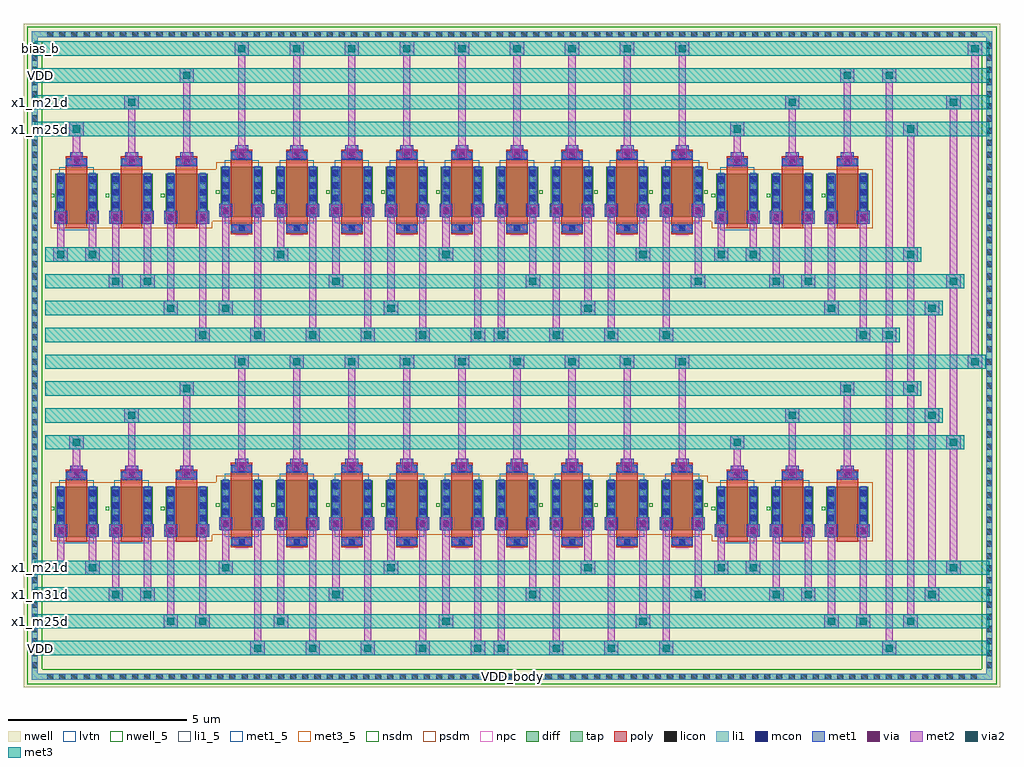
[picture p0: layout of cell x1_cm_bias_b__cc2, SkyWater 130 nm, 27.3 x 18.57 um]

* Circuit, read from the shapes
.subckt x1_cm_bias_b__cc2 VDD VDD_body bias_b x1_m21d x1_m25d x1_m31d
XM1 x1_m21d x1_m21d x1_m21d VDD_body sky130_fd_pr__pfet_01v8_lvt w=1.4 l=0.6 m=2
XM2 x1_m25d x1_m25d x1_m25d VDD_body sky130_fd_pr__pfet_01v8_lvt w=1.4 l=0.6 m=2
XM3 x1_m31d x1_m31d x1_m31d VDD_body sky130_fd_pr__pfet_01v8_lvt w=1.4 l=0.6 m=2
XM4 x1_m21d x1_m21d x1_m21d VDD_body sky130_fd_pr__pfet_01v8 w=1.4 l=0.6 m=2
XM5 x1_m25d x1_m25d x1_m25d VDD_body sky130_fd_pr__pfet_01v8 w=1.4 l=0.6 m=2
XM6 VDD VDD x1_m31d VDD_body sky130_fd_pr__pfet_01v8 w=1.4 l=0.6 m=2
XM7 VDD bias_b x1_m21d VDD_body sky130_fd_pr__pfet_01v8_lvt w=1.4 l=0.6 m=6
XM8 VDD bias_b x1_m31d VDD_body sky130_fd_pr__pfet_01v8_lvt w=1.4 l=0.6 m=6
XM9 VDD bias_b x1_m25d VDD_body sky130_fd_pr__pfet_01v8_lvt w=1.4 l=0.6 m=6
.ends

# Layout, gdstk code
from math import pi, radians
import gdstk
lib = gdstk.Library(unit=1e-6, precision=1e-09)
def R(c, l, rs):  # rectangles x0, y0, x1, y1
    for r in rs: c.add(gdstk.rectangle(r[:2], r[2:], *l))
def A(c, l, x, y, w, h, nx, ny, dx, dy):  # array of equal rectangles
    R(c, l, [(x+i*dx, y+j*dy, x+i*dx+w, y+j*dy+h) for i in range(nx) for j in range(ny)])
nwell_5 = (64, 5)
nwell = (64, 20)
diff = (65, 20)
tap = (65, 44)
poly = (66, 20)
licon = (66, 44)
li1_5 = (67, 5)
li1 = (67, 20)
mcon = (67, 44)
met1_5 = (68, 5)
met1 = (68, 20)
via = (68, 44)
met2 = (69, 20)
via2 = (69, 44)
met3_5 = (70, 5)
met3 = (70, 20)
nsdm = (93, 44)
psdm = (94, 20)
npc = (95, 20)
lvtn = (125, 44)

sky130_fd_pr__pfet_01v8_ = lib.new_cell('sky130_fd_pr__pfet_01v8_7A4LUF')
R(sky130_fd_pr__pfet_01v8_, nwell, [(-0.77,-1.19,0.77,1.02)])
R(sky130_fd_pr__pfet_01v8_, diff, [(-0.59,-0.88,0.59,0.52)])
R(sky130_fd_pr__pfet_01v8_, poly, [(-0.3,-1.01,0.3,1.005)])
A(sky130_fd_pr__pfet_01v8_, licon, -0.53, -0.775, 0.17, 0.17, 1, 4, 0, 0.34)
A(sky130_fd_pr__pfet_01v8_, licon, 0.36, -0.775, 0.17, 0.17, 1, 4, 0, 0.34)
R(sky130_fd_pr__pfet_01v8_, licon, [(-0.085,0.755,0.085,0.925)])
R(sky130_fd_pr__pfet_01v8_, li1, [(-0.53,-0.9,-0.36,0.54), (0.36,-0.9,0.53,0.54), (-0.3,0.755,0.3,0.925)])
A(sky130_fd_pr__pfet_01v8_, mcon, -0.53, -0.805, 0.17, 0.17, 1, 4, 0, 0.36)
A(sky130_fd_pr__pfet_01v8_, mcon, 0.36, -0.805, 0.17, 0.17, 1, 4, 0, 0.36)
R(sky130_fd_pr__pfet_01v8_, mcon, [(-0.085,0.755,0.085,0.925)])
R(sky130_fd_pr__pfet_01v8_, met1, [(-0.56,-0.88,-0.33,0.52), (0.33,-0.88,0.56,0.52), (-0.28,0.725,0.28,0.955)])
R(sky130_fd_pr__pfet_01v8_, psdm, [(-0.715,-1.005,0.715,0.645)])
R(sky130_fd_pr__pfet_01v8_, npc, [(-0.185,0.655,0.185,1.025)])
sky130_fd_pr__pfet_01v8_.add(gdstk.Label('D', (-0.445,-0.18), layer=67, texttype=5))
sky130_fd_pr__pfet_01v8_.add(gdstk.Label('S', (0.445,-0.18), layer=67, texttype=5))
sky130_fd_pr__pfet_01v8_.add(gdstk.Label('G', (0,0.84), layer=67, texttype=5))

pfet_01v8_w1p4_l0p6_m2__ = lib.new_cell('pfet_01v8_W1p4_L0p6_m2__nf1_gtop_sdfull_ng')
R(pfet_01v8_w1p4_l0p6_m2__, nwell_5, [(0.05,1.055,0.15,1.155)])
R(pfet_01v8_w1p4_l0p6_m2__, nwell, [(0.05,1.055,0.15,1.155)])
R(pfet_01v8_w1p4_l0p6_m2__, met1_5, [(0.21,1.01,0.44,1.21), (1.1,1.01,1.33,1.21), (0.49,1.915,1.05,2.145)])
R(pfet_01v8_w1p4_l0p6_m2__, met1, [(0.21,1.01,0.44,1.21), (1.1,1.01,1.33,1.21), (0.49,1.915,1.05,2.145)])
pfet_01v8_w1p4_l0p6_m2__.add(gdstk.Reference(sky130_fd_pr__pfet_01v8_, (0.77,1.19)))
pfet_01v8_w1p4_l0p6_m2__.add(gdstk.Label('D', (0.325,1.11), layer=68, texttype=5))
pfet_01v8_w1p4_l0p6_m2__.add(gdstk.Label('S', (1.215,1.11), layer=68, texttype=5))
pfet_01v8_w1p4_l0p6_m2__.add(gdstk.Label('G', (0.77,2.03), layer=68, texttype=5))
pfet_01v8_w1p4_l0p6_m2__.add(gdstk.Label('B', (0.1,1.105), layer=64, texttype=5))

c_sky130_fd_pr__pfet_01v8_ = lib.new_cell('sky130_fd_pr__pfet_01v8_lvt_L7GY3J')
R(c_sky130_fd_pr__pfet_01v8_, nwell, [(-0.77,-1.19,0.77,1.02)])
R(c_sky130_fd_pr__pfet_01v8_, diff, [(-0.59,-0.88,0.59,0.52)])
R(c_sky130_fd_pr__pfet_01v8_, poly, [(-0.3,-1.01,0.3,1.005)])
A(c_sky130_fd_pr__pfet_01v8_, licon, -0.53, -0.775, 0.17, 0.17, 1, 4, 0, 0.34)
A(c_sky130_fd_pr__pfet_01v8_, licon, 0.36, -0.775, 0.17, 0.17, 1, 4, 0, 0.34)
R(c_sky130_fd_pr__pfet_01v8_, licon, [(-0.085,0.755,0.085,0.925)])
R(c_sky130_fd_pr__pfet_01v8_, li1, [(-0.53,-0.9,-0.36,0.54), (0.36,-0.9,0.53,0.54), (-0.3,0.755,0.3,0.925)])
A(c_sky130_fd_pr__pfet_01v8_, mcon, -0.53, -0.805, 0.17, 0.17, 1, 4, 0, 0.36)
A(c_sky130_fd_pr__pfet_01v8_, mcon, 0.36, -0.805, 0.17, 0.17, 1, 4, 0, 0.36)
R(c_sky130_fd_pr__pfet_01v8_, mcon, [(-0.085,0.755,0.085,0.925)])
R(c_sky130_fd_pr__pfet_01v8_, met1, [(-0.56,-0.88,-0.33,0.52), (0.33,-0.88,0.56,0.52), (-0.28,0.725,0.28,0.955)])
R(c_sky130_fd_pr__pfet_01v8_, psdm, [(-0.715,-1.005,0.715,0.645)])
R(c_sky130_fd_pr__pfet_01v8_, npc, [(-0.185,0.655,0.185,1.025)])
R(c_sky130_fd_pr__pfet_01v8_, lvtn, [(-0.48,-1.06,0.48,0.7)])
c_sky130_fd_pr__pfet_01v8_.add(gdstk.Label('D', (-0.445,-0.18), layer=67, texttype=5))
c_sky130_fd_pr__pfet_01v8_.add(gdstk.Label('S', (0.445,-0.18), layer=67, texttype=5))
c_sky130_fd_pr__pfet_01v8_.add(gdstk.Label('G', (0,0.84), layer=67, texttype=5))

pfet_01v8_lvt_w1p4_l0p6_ = lib.new_cell('pfet_01v8_lvt_W1p4_L0p6_m2__nf1_gtop_sdfull_ng')
R(pfet_01v8_lvt_w1p4_l0p6_, nwell_5, [(0.05,1.055,0.15,1.155)])
R(pfet_01v8_lvt_w1p4_l0p6_, nwell, [(0.05,1.055,0.15,1.155)])
R(pfet_01v8_lvt_w1p4_l0p6_, met1_5, [(0.21,1.01,0.44,1.21), (1.1,1.01,1.33,1.21), (0.49,1.915,1.05,2.145)])
R(pfet_01v8_lvt_w1p4_l0p6_, met1, [(0.21,1.01,0.44,1.21), (1.1,1.01,1.33,1.21), (0.49,1.915,1.05,2.145)])
pfet_01v8_lvt_w1p4_l0p6_.add(gdstk.Reference(c_sky130_fd_pr__pfet_01v8_, (0.77,1.19)))
pfet_01v8_lvt_w1p4_l0p6_.add(gdstk.Label('D', (0.325,1.11), layer=68, texttype=5))
pfet_01v8_lvt_w1p4_l0p6_.add(gdstk.Label('S', (1.215,1.11), layer=68, texttype=5))
pfet_01v8_lvt_w1p4_l0p6_.add(gdstk.Label('G', (0.77,2.03), layer=68, texttype=5))
pfet_01v8_lvt_w1p4_l0p6_.add(gdstk.Label('B', (0.1,1.105), layer=64, texttype=5))

c_sky130_fd_pr__pfet_01v8__ = lib.new_cell('sky130_fd_pr__pfet_01v8_lvt_PJ46JE')
R(c_sky130_fd_pr__pfet_01v8__, nwell, [(-0.77,-1.2,0.77,1.2)])
R(c_sky130_fd_pr__pfet_01v8__, diff, [(-0.59,-0.7,0.59,0.7)])
R(c_sky130_fd_pr__pfet_01v8__, poly, [(-0.3,-1.185,0.3,1.185)])
A(c_sky130_fd_pr__pfet_01v8__, licon, -0.53, -0.595, 0.17, 0.17, 1, 4, 0, 0.34)
A(c_sky130_fd_pr__pfet_01v8__, licon, 0.36, -0.595, 0.17, 0.17, 1, 4, 0, 0.34)
R(c_sky130_fd_pr__pfet_01v8__, licon, [(-0.085,-1.105,0.085,-0.935), (-0.085,0.935,0.085,1.105)])
R(c_sky130_fd_pr__pfet_01v8__, li1, [(-0.3,-1.105,0.3,-0.935), (-0.53,-0.72,-0.36,0.72), (0.36,-0.72,0.53,0.72), (-0.3,0.935,0.3,1.105)])
A(c_sky130_fd_pr__pfet_01v8__, mcon, -0.53, -0.625, 0.17, 0.17, 1, 4, 0, 0.36)
A(c_sky130_fd_pr__pfet_01v8__, mcon, 0.36, -0.625, 0.17, 0.17, 1, 4, 0, 0.36)
R(c_sky130_fd_pr__pfet_01v8__, mcon, [(-0.085,-1.105,0.085,-0.935), (-0.085,0.935,0.085,1.105)])
R(c_sky130_fd_pr__pfet_01v8__, met1, [(-0.28,-1.135,0.28,-0.905), (-0.56,-0.7,-0.33,0.7), (0.33,-0.7,0.56,0.7), (-0.28,0.905,0.28,1.135)])
R(c_sky130_fd_pr__pfet_01v8__, psdm, [(-0.715,-0.825,0.715,0.825)])
R(c_sky130_fd_pr__pfet_01v8__, npc, [(-0.185,-1.205,0.185,-0.835), (-0.185,0.835,0.185,1.205)])
R(c_sky130_fd_pr__pfet_01v8__, lvtn, [(-0.48,-0.88,0.48,0.88)])
c_sky130_fd_pr__pfet_01v8__.add(gdstk.Label('D', (-0.445,0), layer=67, texttype=5))
c_sky130_fd_pr__pfet_01v8__.add(gdstk.Label('S', (0.445,0), layer=67, texttype=5))
c_sky130_fd_pr__pfet_01v8__.add(gdstk.Label('G', (0,1.02), layer=67, texttype=5))

c_pfet_01v8_lvt_w1p4_l0p6_ = lib.new_cell('pfet_01v8_lvt_W1p4_L0p6_m6__nf1_gboth_sdfull_ng')
R(c_pfet_01v8_lvt_w1p4_l0p6_, nwell_5, [(0.05,1.15,0.15,1.25)])
R(c_pfet_01v8_lvt_w1p4_l0p6_, nwell, [(0.05,1.15,0.15,1.25)])
R(c_pfet_01v8_lvt_w1p4_l0p6_, met1_5, [(0.21,1.2,0.44,1.4), (1.1,1.2,1.33,1.4), (0.49,2.105,1.05,2.335)])
R(c_pfet_01v8_lvt_w1p4_l0p6_, met1, [(0.21,1.2,0.44,1.4), (1.1,1.2,1.33,1.4), (0.49,2.105,1.05,2.335)])
c_pfet_01v8_lvt_w1p4_l0p6_.add(gdstk.Reference(c_sky130_fd_pr__pfet_01v8__, (0.77,1.2)))
c_pfet_01v8_lvt_w1p4_l0p6_.add(gdstk.Label('D', (0.325,1.3), layer=68, texttype=5))
c_pfet_01v8_lvt_w1p4_l0p6_.add(gdstk.Label('S', (1.215,1.3), layer=68, texttype=5))
c_pfet_01v8_lvt_w1p4_l0p6_.add(gdstk.Label('G', (0.77,2.22), layer=68, texttype=5))
c_pfet_01v8_lvt_w1p4_l0p6_.add(gdstk.Label('B', (0.1,1.2), layer=64, texttype=5))

x1_cm_bias_b__cc2 = lib.new_cell('x1_cm_bias_b__cc2')
R(x1_cm_bias_b__cc2, nwell, [(-0.7,-3.9,26.6,14.67)])
R(x1_cm_bias_b__cc2, tap, [(-0.485,-3.685,26.385,-3.515), (-0.485,-3.515,-0.315,14.285), (26.215,-3.515,26.385,14.285), (-0.485,14.285,26.385,14.455)])
A(x1_cm_bias_b__cc2, licon, -0.055, -3.685, 0.17, 0.17, 77, 2, 0.34, 17.97)
A(x1_cm_bias_b__cc2, licon, -0.485, -3.37, 0.17, 0.17, 1, 52, 0, 0.34)
A(x1_cm_bias_b__cc2, licon, 26.215, -3.37, 0.17, 0.17, 1, 52, 0, 0.34)
R(x1_cm_bias_b__cc2, li1_5, [(12.9,-3.65,13,-3.55)])
R(x1_cm_bias_b__cc2, li1, [(-0.485,-3.685,26.385,-3.515), (-0.485,-3.515,-0.315,14.285), (26.215,-3.515,26.385,14.285), (-0.485,14.285,26.385,14.455)])
A(x1_cm_bias_b__cc2, met1, 0.59, 1.945, 0.36, 0.36, 3, 2, 1.54, 8.76)
A(x1_cm_bias_b__cc2, met1, 19.07, 1.945, 0.36, 0.36, 3, 2, 1.54, 8.76)
A(x1_cm_bias_b__cc2, met1, 5.21, 2.14, 0.36, 0.36, 9, 2, 1.54, 8.76)
R(x1_cm_bias_b__cc2, met1, [(0.145,0.31,0.505,0.67), (1.035,0.31,1.395,0.67), (1.685,0.31,2.045,0.67), (2.575,0.31,2.935,0.67), (3.225,0.31,3.585,0.67), (4.115,0.31,4.475,0.67), (18.625,0.31,18.985,0.67), (19.515,0.31,19.875,0.67), (20.165,0.31,20.525,0.67), (21.055,0.31,21.415,0.67), (21.705,0.31,22.065,0.67), (22.595,0.31,22.955,0.67), (4.765,0.505,5.125,0.865), (5.655,0.505,6.015,0.865), (6.305,0.505,6.665,0.865), (7.195,0.505,7.555,0.865), (7.845,0.505,8.205,0.865), (8.735,0.505,9.095,0.865), (9.385,0.505,9.745,0.865), (10.275,0.505,10.635,0.865), (10.925,0.505,11.285,0.865), (11.815,0.505,12.175,0.865), (12.465,0.505,12.825,0.865), (13.355,0.505,13.715,0.865), (14.005,0.505,14.365,0.865), (14.895,0.505,15.255,0.865), (15.545,0.505,15.905,0.865), (16.435,0.505,16.795,0.865), (17.085,0.505,17.445,0.865), (17.975,0.505,18.335,0.865), (0.145,9.07,0.505,9.43), (1.035,9.07,1.395,9.43), (1.685,9.07,2.045,9.43), (2.575,9.07,2.935,9.43), (3.225,9.07,3.585,9.43), (4.115,9.07,4.475,9.43), (18.625,9.07,18.985,9.43), (19.515,9.07,19.875,9.43), (20.165,9.07,20.525,9.43), (21.055,9.07,21.415,9.43), (21.705,9.07,22.065,9.43), (22.595,9.07,22.955,9.43), (4.765,9.265,5.125,9.625), (5.655,9.265,6.015,9.625), (6.305,9.265,6.665,9.625), (7.195,9.265,7.555,9.625), (7.845,9.265,8.205,9.625), (8.735,9.265,9.095,9.625), (9.385,9.265,9.745,9.625), (10.275,9.265,10.635,9.625), (10.925,9.265,11.285,9.625), (11.815,9.265,12.175,9.625), (12.465,9.265,12.825,9.625), (13.355,9.265,13.715,9.625), (14.005,9.265,14.365,9.625), (14.895,9.265,15.255,9.625), (15.545,9.265,15.905,9.625), (16.435,9.265,16.795,9.625), (17.085,9.265,17.445,9.625), (17.975,9.265,18.335,9.625)])
A(x1_cm_bias_b__cc2, via, 0.695, 2.05, 0.15, 0.15, 3, 2, 1.54, 8.76)
A(x1_cm_bias_b__cc2, via, 19.175, 2.05, 0.15, 0.15, 3, 2, 1.54, 8.76)
A(x1_cm_bias_b__cc2, via, 5.315, 2.245, 0.15, 0.15, 9, 2, 1.54, 8.76)
R(x1_cm_bias_b__cc2, via, [(0.25,0.415,0.4,0.565), (1.14,0.415,1.29,0.565), (1.79,0.415,1.94,0.565), (2.68,0.415,2.83,0.565), (3.33,0.415,3.48,0.565), (4.22,0.415,4.37,0.565), (18.73,0.415,18.88,0.565), (19.62,0.415,19.77,0.565), (20.27,0.415,20.42,0.565), (21.16,0.415,21.31,0.565), (21.81,0.415,21.96,0.565), (22.7,0.415,22.85,0.565), (4.87,0.61,5.02,0.76), (5.76,0.61,5.91,0.76), (6.41,0.61,6.56,0.76), (7.3,0.61,7.45,0.76), (7.95,0.61,8.1,0.76), (8.84,0.61,8.99,0.76), (9.49,0.61,9.64,0.76), (10.38,0.61,10.53,0.76), (11.03,0.61,11.18,0.76), (11.92,0.61,12.07,0.76), (12.57,0.61,12.72,0.76), (13.46,0.61,13.61,0.76), (14.11,0.61,14.26,0.76), (15,0.61,15.15,0.76), (15.65,0.61,15.8,0.76), (16.54,0.61,16.69,0.76), (17.19,0.61,17.34,0.76), (18.08,0.61,18.23,0.76), (0.25,9.175,0.4,9.325), (1.14,9.175,1.29,9.325), (1.79,9.175,1.94,9.325), (2.68,9.175,2.83,9.325), (3.33,9.175,3.48,9.325), (4.22,9.175,4.37,9.325), (18.73,9.175,18.88,9.325), (19.62,9.175,19.77,9.325), (20.27,9.175,20.42,9.325), (21.16,9.175,21.31,9.325), (21.81,9.175,21.96,9.325), (22.7,9.175,22.85,9.325), (4.87,9.37,5.02,9.52), (5.76,9.37,5.91,9.52), (6.41,9.37,6.56,9.52), (7.3,9.37,7.45,9.52), (7.95,9.37,8.1,9.52), (8.84,9.37,8.99,9.52), (9.49,9.37,9.64,9.52), (10.38,9.37,10.53,9.52), (11.03,9.37,11.18,9.52), (11.92,9.37,12.07,9.52), (12.57,9.37,12.72,9.52), (13.46,9.37,13.61,9.52), (14.11,9.37,14.26,9.52), (15,9.37,15.15,9.52), (15.65,9.37,15.8,9.52), (16.54,9.37,16.69,9.52), (17.19,9.37,17.34,9.52), (18.08,9.37,18.23,9.52)])
A(x1_cm_bias_b__cc2, met2, 5.635, -3, 0.4, 0.4, 5, 1, 1.54, 0)
A(x1_cm_bias_b__cc2, met2, 12.445, -3, 0.4, 0.4, 4, 2, 1.54, 8.76)
A(x1_cm_bias_b__cc2, met2, 5.735, -2.6, 0.2, 3.125, 5, 2, 1.54, 8.76)
A(x1_cm_bias_b__cc2, met2, 12.545, -2.6, 0.2, 3.125, 4, 2, 1.54, 8.76)
A(x1_cm_bias_b__cc2, met2, 0.64, 1.965, 0.26, 0.32, 3, 2, 1.54, 8.76)
A(x1_cm_bias_b__cc2, met2, 19.12, 1.965, 0.26, 0.32, 3, 2, 1.54, 8.76)
A(x1_cm_bias_b__cc2, met2, 5.26, 2.16, 0.26, 0.32, 9, 2, 1.54, 8.76)
A(x1_cm_bias_b__cc2, met2, 5.29, 2.48, 0.2, 2.53, 9, 2, 1.54, 8.76)
A(x1_cm_bias_b__cc2, met2, 5.19, 5.01, 0.4, 0.4, 9, 2, 1.54, 8.76)
A(x1_cm_bias_b__cc2, met2, 4.095, 5.76, 0.4, 0.4, 6, 1, 1.54, 0)
R(x1_cm_bias_b__cc2, met2, [(23.3,-3,23.7,-2.6), (23.4,-2.6,23.6,5.76), (3.205,-2.25,3.605,-1.85), (4.095,-2.25,4.495,-1.85), (6.285,-2.25,6.685,-1.85), (10.905,-2.25,11.305,-1.85), (16.415,-2.25,16.815,-1.85), (21.685,-2.25,22.085,-1.85), (22.575,-2.25,22.975,-1.85), (23.9,-2.25,24.3,-1.85), (3.305,-1.85,3.505,0.33), (4.195,-1.85,4.395,0.33), (6.385,-1.85,6.585,0.525), (11.005,-1.85,11.205,0.525), (16.515,-1.85,16.715,0.525), (21.785,-1.85,21.985,0.33), (22.675,-1.85,22.875,0.33), (24,-1.85,24.2,4.26), (1.665,-1.5,2.065,-1.1), (2.555,-1.5,2.955,-1.1), (7.825,-1.5,8.225,-1.1), (13.335,-1.5,13.735,-1.1), (17.955,-1.5,18.355,-1.1), (20.145,-1.5,20.545,-1.1), (21.035,-1.5,21.435,-1.1), (24.5,-1.5,24.9,-1.1), (1.765,-1.1,1.965,0.33), (2.655,-1.1,2.855,0.33), (7.925,-1.1,8.125,0.525), (13.435,-1.1,13.635,0.525), (18.055,-1.1,18.255,0.525), (20.245,-1.1,20.445,0.33), (21.135,-1.1,21.335,0.33), (24.6,-1.1,24.8,3.51), (0.125,-0.75,0.525,-0.35), (1.015,-0.75,1.415,-0.35), (4.745,-0.75,5.145,-0.35), (9.365,-0.75,9.765,-0.35), (14.875,-0.75,15.275,-0.35), (18.605,-0.75,19.005,-0.35), (19.495,-0.75,19.895,-0.35), (25.1,-0.75,25.5,-0.35), (0.225,-0.35,0.425,0.33), (1.115,-0.35,1.315,0.33), (4.845,-0.35,5.045,0.525), (9.465,-0.35,9.665,0.525), (14.975,-0.35,15.175,0.525), (18.705,-0.35,18.905,0.33), (19.595,-0.35,19.795,0.33), (25.2,-0.35,25.4,2.76), (0.195,0.33,0.455,0.65), (1.085,0.33,1.345,0.65), (1.735,0.33,1.995,0.65), (2.625,0.33,2.885,0.65), (3.275,0.33,3.535,0.65), (4.165,0.33,4.425,0.65), (18.675,0.33,18.935,0.65), (19.565,0.33,19.825,0.65), (20.215,0.33,20.475,0.65), (21.105,0.33,21.365,0.65), (21.755,0.33,22.015,0.65), (22.645,0.33,22.905,0.65), (4.815,0.525,5.075,0.845), (5.705,0.525,5.965,0.845), (6.355,0.525,6.615,0.845), (7.245,0.525,7.505,0.845), (7.895,0.525,8.155,0.845), (8.785,0.525,9.045,0.845), (9.435,0.525,9.695,0.845), (10.325,0.525,10.585,0.845), (10.975,0.525,11.235,0.845), (11.865,0.525,12.125,0.845), (12.515,0.525,12.775,0.845), (13.405,0.525,13.665,0.845), (14.055,0.525,14.315,0.845), (14.945,0.525,15.205,0.845), (15.595,0.525,15.855,0.845), (16.485,0.525,16.745,0.845), (17.135,0.525,17.395,0.845), (18.025,0.525,18.285,0.845), (0.67,2.285,0.87,2.76), (2.21,2.285,2.41,3.51), (3.75,2.285,3.95,4.26), (19.15,2.285,19.35,2.76), (20.69,2.285,20.89,3.51), (22.23,2.285,22.43,4.26), (0.57,2.76,0.97,3.16), (19.05,2.76,19.45,3.16), (25.1,2.76,25.5,3.16), (25.2,3.16,25.4,7.26), (2.11,3.51,2.51,3.91), (20.59,3.51,20.99,3.91), (24.5,3.51,24.9,3.91), (24.6,3.91,24.8,6.51), (3.65,4.26,4.05,4.66), (22.13,4.26,22.53,4.66), (23.9,4.26,24.3,4.66), (24,4.66,24.2,8.01), (25.7,5.01,26.1,5.41), (25.8,5.41,26,13.77), (22.575,5.76,22.975,6.16), (23.3,5.76,23.7,6.16), (4.195,6.16,4.395,9.09), (22.675,6.16,22.875,9.09), (23.4,6.16,23.6,13.02), (3.205,6.51,3.605,6.91), (4.745,6.51,5.145,6.91), (9.365,6.51,9.765,6.91), (14.875,6.51,15.275,6.91), (21.685,6.51,22.085,6.91), (24.5,6.51,24.9,6.91), (3.305,6.91,3.505,9.09), (4.845,6.91,5.045,9.285), (9.465,6.91,9.665,9.285), (14.975,6.91,15.175,9.285), (21.785,6.91,21.985,9.09), (1.665,7.26,2.065,7.66), (2.555,7.26,2.955,7.66), (7.825,7.26,8.225,7.66), (13.335,7.26,13.735,7.66), (17.955,7.26,18.355,7.66), (20.145,7.26,20.545,7.66), (21.035,7.26,21.435,7.66), (25.1,7.26,25.5,7.66), (1.765,7.66,1.965,9.09), (2.655,7.66,2.855,9.09), (7.925,7.66,8.125,9.285), (13.435,7.66,13.635,9.285), (18.055,7.66,18.255,9.285), (20.245,7.66,20.445,9.09), (21.135,7.66,21.335,9.09), (25.2,7.66,25.4,12.27), (0.125,8.01,0.525,8.41), (1.015,8.01,1.415,8.41), (6.285,8.01,6.685,8.41), (10.905,8.01,11.305,8.41), (16.415,8.01,16.815,8.41), (18.605,8.01,19.005,8.41), (19.495,8.01,19.895,8.41), (23.9,8.01,24.3,8.41), (0.225,8.41,0.425,9.09), (1.115,8.41,1.315,9.09), (6.385,8.41,6.585,9.285), (11.005,8.41,11.205,9.285), (16.515,8.41,16.715,9.285), (18.705,8.41,18.905,9.09), (19.595,8.41,19.795,9.09), (24,8.41,24.2,11.52), (0.195,9.09,0.455,9.41), (1.085,9.09,1.345,9.41), (1.735,9.09,1.995,9.41), (2.625,9.09,2.885,9.41), (3.275,9.09,3.535,9.41), (4.165,9.09,4.425,9.41), (18.675,9.09,18.935,9.41), (19.565,9.09,19.825,9.41), (20.215,9.09,20.475,9.41), (21.105,9.09,21.365,9.41), (21.755,9.09,22.015,9.41), (22.645,9.09,22.905,9.41), (4.815,9.285,5.075,9.605), (5.705,9.285,5.965,9.605), (6.355,9.285,6.615,9.605), (7.245,9.285,7.505,9.605), (7.895,9.285,8.155,9.605), (8.785,9.285,9.045,9.605), (9.435,9.285,9.695,9.605), (10.325,9.285,10.585,9.605), (10.975,9.285,11.235,9.605), (11.865,9.285,12.125,9.605), (12.515,9.285,12.775,9.605), (13.405,9.285,13.665,9.605), (14.055,9.285,14.315,9.605), (14.945,9.285,15.205,9.605), (15.595,9.285,15.855,9.605), (16.485,9.285,16.745,9.605), (17.135,9.285,17.395,9.605), (18.025,9.285,18.285,9.605), (0.67,11.045,0.87,11.52), (2.21,11.045,2.41,12.27), (3.75,11.045,3.95,13.02), (19.15,11.045,19.35,11.52), (20.69,11.045,20.89,12.27), (22.23,11.045,22.43,13.02), (0.57,11.52,0.97,11.92), (19.05,11.52,19.45,11.92), (23.9,11.52,24.3,11.92), (2.11,12.27,2.51,12.67), (20.59,12.27,20.99,12.67), (25.1,12.27,25.5,12.67), (3.65,13.02,4.05,13.42), (22.13,13.02,22.53,13.42), (23.3,13.02,23.7,13.42), (25.7,13.77,26.1,14.17)])
A(x1_cm_bias_b__cc2, via2, 5.735, -2.9, 0.2, 0.2, 5, 1, 1.54, 0)
A(x1_cm_bias_b__cc2, via2, 12.545, -2.9, 0.2, 0.2, 4, 2, 1.54, 8.76)
A(x1_cm_bias_b__cc2, via2, 5.29, 5.11, 0.2, 0.2, 9, 2, 1.54, 8.76)
A(x1_cm_bias_b__cc2, via2, 4.195, 5.86, 0.2, 0.2, 6, 1, 1.54, 0)
R(x1_cm_bias_b__cc2, via2, [(23.4,-2.9,23.6,-2.7), (3.305,-2.15,3.505,-1.95), (4.195,-2.15,4.395,-1.95), (6.385,-2.15,6.585,-1.95), (11.005,-2.15,11.205,-1.95), (16.515,-2.15,16.715,-1.95), (21.785,-2.15,21.985,-1.95), (22.675,-2.15,22.875,-1.95), (24,-2.15,24.2,-1.95), (1.765,-1.4,1.965,-1.2), (2.655,-1.4,2.855,-1.2), (7.925,-1.4,8.125,-1.2), (13.435,-1.4,13.635,-1.2), (18.055,-1.4,18.255,-1.2), (20.245,-1.4,20.445,-1.2), (21.135,-1.4,21.335,-1.2), (24.6,-1.4,24.8,-1.2), (0.225,-0.65,0.425,-0.45), (1.115,-0.65,1.315,-0.45), (4.845,-0.65,5.045,-0.45), (9.465,-0.65,9.665,-0.45), (14.975,-0.65,15.175,-0.45), (18.705,-0.65,18.905,-0.45), (19.595,-0.65,19.795,-0.45), (25.2,-0.65,25.4,-0.45), (0.67,2.86,0.87,3.06), (19.15,2.86,19.35,3.06), (25.2,2.86,25.4,3.06), (2.21,3.61,2.41,3.81), (20.69,3.61,20.89,3.81), (24.6,3.61,24.8,3.81), (3.75,4.36,3.95,4.56), (22.23,4.36,22.43,4.56), (24,4.36,24.2,4.56), (25.8,5.11,26,5.31), (22.675,5.86,22.875,6.06), (23.4,5.86,23.6,6.06), (3.305,6.61,3.505,6.81), (4.845,6.61,5.045,6.81), (9.465,6.61,9.665,6.81), (14.975,6.61,15.175,6.81), (21.785,6.61,21.985,6.81), (24.6,6.61,24.8,6.81), (1.765,7.36,1.965,7.56), (2.655,7.36,2.855,7.56), (7.925,7.36,8.125,7.56), (13.435,7.36,13.635,7.56), (18.055,7.36,18.255,7.56), (20.245,7.36,20.445,7.56), (21.135,7.36,21.335,7.56), (25.2,7.36,25.4,7.56), (0.225,8.11,0.425,8.31), (1.115,8.11,1.315,8.31), (6.385,8.11,6.585,8.31), (11.005,8.11,11.205,8.31), (16.515,8.11,16.715,8.31), (18.705,8.11,18.905,8.31), (19.595,8.11,19.795,8.31), (24,8.11,24.2,8.31), (0.67,11.62,0.87,11.82), (19.15,11.62,19.35,11.82), (24,11.62,24.2,11.82), (2.21,12.37,2.41,12.57), (20.69,12.37,20.89,12.57), (25.2,12.37,25.4,12.57), (3.75,13.12,3.95,13.32), (22.23,13.12,22.43,13.32), (23.4,13.12,23.6,13.32), (25.8,13.87,26,14.07)])
A(x1_cm_bias_b__cc2, met3_5, -0.3, -2.85, 0.1, 0.1, 1, 4, 0, 0.75)
A(x1_cm_bias_b__cc2, met3_5, -0.3, 11.67, 0.1, 0.1, 1, 4, 0, 0.75)
A(x1_cm_bias_b__cc2, met3, -0.4, -3, 26.7, 0.4, 1, 4, 0, 0.75)
A(x1_cm_bias_b__cc2, met3, -0.4, 11.52, 26.7, 0.4, 1, 4, 0, 0.75)
R(x1_cm_bias_b__cc2, met3, [(-0.1,2.76,25.6,3.16), (-0.1,3.51,25,3.91), (-0.1,4.26,24.4,4.66), (-0.1,5.01,26.2,5.41), (-0.1,5.76,23.8,6.16), (-0.1,6.51,25,6.91), (-0.1,7.26,25.6,7.66), (-0.1,8.01,24.4,8.41)])
R(x1_cm_bias_b__cc2, nsdm, [(-0.61,-3.81,26.51,-3.39), (-0.61,-3.39,-0.19,14.16), (26.09,-3.39,26.51,14.16), (-0.61,14.16,26.51,14.58)])
A(x1_cm_bias_b__cc2, psdm, 6.105, 0.375, 0.11, 1.65, 8, 2, 1.54, 8.76)
R(x1_cm_bias_b__cc2, psdm, [(1.485,0.185,1.595,1.835), (3.025,0.185,3.135,1.835), (19.965,0.185,20.075,1.835), (21.505,0.185,21.615,1.835), (4.565,0.375,4.675,1.835), (18.425,0.375,18.535,1.835), (1.485,8.945,1.595,10.595), (3.025,8.945,3.135,10.595), (19.965,8.945,20.075,10.595), (21.505,8.945,21.615,10.595), (4.565,9.135,4.675,10.595), (18.425,9.135,18.535,10.595)])
x1_cm_bias_b__cc2.add(gdstk.Reference(pfet_01v8_w1p4_l0p6_m2__, (21.56,8.76)))
x1_cm_bias_b__cc2.add(gdstk.Reference(pfet_01v8_w1p4_l0p6_m2__, (20.02,8.76)))
x1_cm_bias_b__cc2.add(gdstk.Reference(pfet_01v8_lvt_w1p4_l0p6_, (18.48,8.76)))
x1_cm_bias_b__cc2.add(gdstk.Reference(c_pfet_01v8_lvt_w1p4_l0p6_, (18.48,8.76), rotation=pi, x_reflection=True))
x1_cm_bias_b__cc2.add(gdstk.Reference(c_pfet_01v8_lvt_w1p4_l0p6_, (16.94,8.76), rotation=pi, x_reflection=True))
x1_cm_bias_b__cc2.add(gdstk.Reference(c_pfet_01v8_lvt_w1p4_l0p6_, (15.4,8.76), rotation=pi, x_reflection=True))
x1_cm_bias_b__cc2.add(gdstk.Reference(c_pfet_01v8_lvt_w1p4_l0p6_, (13.86,8.76), rotation=pi, x_reflection=True))
x1_cm_bias_b__cc2.add(gdstk.Reference(c_pfet_01v8_lvt_w1p4_l0p6_, (10.78,8.76)))
x1_cm_bias_b__cc2.add(gdstk.Reference(c_pfet_01v8_lvt_w1p4_l0p6_, (9.24,8.76)))
x1_cm_bias_b__cc2.add(gdstk.Reference(c_pfet_01v8_lvt_w1p4_l0p6_, (7.7,8.76)))
x1_cm_bias_b__cc2.add(gdstk.Reference(c_pfet_01v8_lvt_w1p4_l0p6_, (6.16,8.76)))
x1_cm_bias_b__cc2.add(gdstk.Reference(c_pfet_01v8_lvt_w1p4_l0p6_, (4.62,8.76)))
x1_cm_bias_b__cc2.add(gdstk.Reference(pfet_01v8_w1p4_l0p6_m2__, (3.08,8.76)))
x1_cm_bias_b__cc2.add(gdstk.Reference(pfet_01v8_w1p4_l0p6_m2__, (1.54,8.76)))
x1_cm_bias_b__cc2.add(gdstk.Reference(pfet_01v8_lvt_w1p4_l0p6_, (0,8.76)))
x1_cm_bias_b__cc2.add(gdstk.Reference(pfet_01v8_w1p4_l0p6_m2__, (21.56,0)))
x1_cm_bias_b__cc2.add(gdstk.Reference(pfet_01v8_lvt_w1p4_l0p6_, (20.02,0)))
x1_cm_bias_b__cc2.add(gdstk.Reference(pfet_01v8_lvt_w1p4_l0p6_, (18.48,0)))
x1_cm_bias_b__cc2.add(gdstk.Reference(c_pfet_01v8_lvt_w1p4_l0p6_, (18.48,0), rotation=pi, x_reflection=True))
x1_cm_bias_b__cc2.add(gdstk.Reference(c_pfet_01v8_lvt_w1p4_l0p6_, (16.94,0), rotation=pi, x_reflection=True))
x1_cm_bias_b__cc2.add(gdstk.Reference(c_pfet_01v8_lvt_w1p4_l0p6_, (15.4,0), rotation=pi, x_reflection=True))
x1_cm_bias_b__cc2.add(gdstk.Reference(c_pfet_01v8_lvt_w1p4_l0p6_, (13.86,0), rotation=pi, x_reflection=True))
x1_cm_bias_b__cc2.add(gdstk.Reference(c_pfet_01v8_lvt_w1p4_l0p6_, (10.78,0)))
x1_cm_bias_b__cc2.add(gdstk.Reference(c_pfet_01v8_lvt_w1p4_l0p6_, (9.24,0)))
x1_cm_bias_b__cc2.add(gdstk.Reference(c_pfet_01v8_lvt_w1p4_l0p6_, (7.7,0)))
x1_cm_bias_b__cc2.add(gdstk.Reference(c_pfet_01v8_lvt_w1p4_l0p6_, (6.16,0)))
x1_cm_bias_b__cc2.add(gdstk.Reference(c_pfet_01v8_lvt_w1p4_l0p6_, (4.62,0)))
x1_cm_bias_b__cc2.add(gdstk.Reference(pfet_01v8_w1p4_l0p6_m2__, (3.08,0)))
x1_cm_bias_b__cc2.add(gdstk.Reference(pfet_01v8_lvt_w1p4_l0p6_, (1.54,0)))
x1_cm_bias_b__cc2.add(gdstk.Reference(pfet_01v8_lvt_w1p4_l0p6_, (0,0)))
x1_cm_bias_b__cc2.add(gdstk.Label('x1_m25d', (-0.25,11.72), layer=70, texttype=5))
x1_cm_bias_b__cc2.add(gdstk.Label('x1_m21d', (-0.25,12.47), layer=70, texttype=5))
x1_cm_bias_b__cc2.add(gdstk.Label('VDD', (-0.25,13.22), layer=70, texttype=5))
x1_cm_bias_b__cc2.add(gdstk.Label('bias_b', (-0.25,13.97), layer=70, texttype=5))
x1_cm_bias_b__cc2.add(gdstk.Label('x1_m21d', (-0.25,-0.55), layer=70, texttype=5))
x1_cm_bias_b__cc2.add(gdstk.Label('x1_m31d', (-0.25,-1.3), layer=70, texttype=5))
x1_cm_bias_b__cc2.add(gdstk.Label('x1_m25d', (-0.25,-2.05), layer=70, texttype=5))
x1_cm_bias_b__cc2.add(gdstk.Label('VDD', (-0.25,-2.8), layer=70, texttype=5))
x1_cm_bias_b__cc2.add(gdstk.Label('VDD_body', (12.95,-3.6), layer=67, texttype=5))

lib.write_gds('x1_cm_bias_b__cc2.gds')
